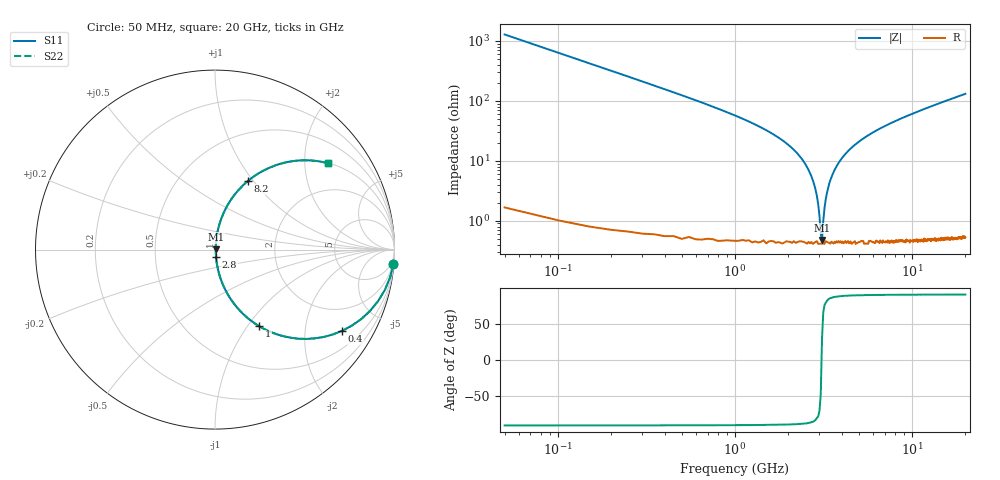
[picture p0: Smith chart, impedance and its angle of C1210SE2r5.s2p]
! AVX Thin Film Operation		Date: April 2012
! Description: Accu-P® Series, Thin Film, SMD, RF Capacitor
! Part Number: 12101J2R5QBTTR
!	100	MHz	-	20.05	GHz
!	Serial	Measurements
#	MHZ	S	MA	R	50
!	S11	S21	S12	S22
!	dB	Phase	dB	Phase	dB	Phase	dB	Phase
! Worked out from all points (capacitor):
!   400 points, 50 MHz to 20 GHz, reference 50 ohm
!   read as one part in series: C = 2.5 pF near 150 MHz
!   lowest |Z| = 475 mohm at 3.1 GHz (marker M1)
!   series resonance near 3.083 GHz, so ESL is about 1.1 nH
!   S11 on the Smith chart (normalised r, x): 50 MHz: 1, -25; 400 MHz: 1.01, -3.13; 1 GHz: 1.01, -1.14; 2.8 GHz: 1.01, -0.08; 8.2 GHz: 1.01, +0.94; 20 GHz: 1.01, +2.62
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50  0.997 -4.5  0.078 85.4  0.078 85.4  0.997 -4.5
100  0.988 -8.9  0.155 81.0  0.155 81.0  0.988 -8.9
150  0.973 -13.3  0.23 76.6  0.23 76.6  0.973 -13.3
400  0.841 -32.5  0.538 57.3  0.538 57.3  0.841 -32.5
1000  0.493 -60.0  0.866 29.6  0.866 29.6  0.493 -60.0
1500  0.307 -71.3  0.948 17.9  0.948 17.9  0.307 -71.3
2250  0.131 -80.6  0.987 7.5  0.987 7.5  0.131 -80.6
2500  0.087 -82.2  0.992 5.0  0.992 5.0  0.087 -82.2
2800  0.04 -81.5  0.995 2.3  0.995 2.3  0.04 -81.5
2950  0.019 -75.6  0.996 1.0  0.996 1.0  0.019 -75.6
3050  0.006153 -45.5  0.996 0.3  0.996 0.3  0.006153 -45.5
3100  0.00486 27.8  0.996 -0.1  0.996 -0.1  0.00486 27.8
3200  0.016 73.5  0.996 -0.9  0.996 -0.9  0.016 73.5
3400  0.041 81.6  0.995 -2.3  0.995 -2.3  0.041 81.6
3850  0.092 82.1  0.991 -5.3  0.991 -5.3  0.092 82.1
4450  0.153 79.6  0.984 -8.8  0.984 -8.8  0.153 79.6
6700  0.332 69.9  0.939 -19.4  0.939 -19.4  0.332 69.9
8200  0.425 64.3  0.901 -25.1  0.901 -25.1  0.425 64.3
10050  0.519 58.3  0.851 -31.3  0.851 -31.3  0.519 58.3
13350  0.644 49.6  0.761 -40.1  0.761 -40.1  0.644 49.6
16700  0.732 42.7  0.678 -47.1  0.678 -47.1  0.732 42.7
20000  0.793 37.3  0.606 -52.5  0.606 -52.5  0.793 37.3
